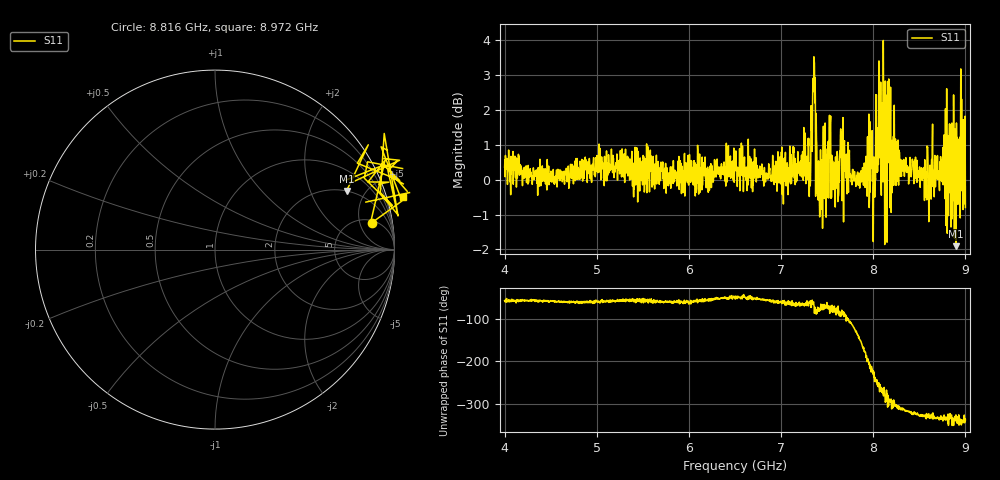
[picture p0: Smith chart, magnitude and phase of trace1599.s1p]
! Created with skrf 1.8.0 (http://scikit-rf.org).
# Hz S RI R 50.0
!freq ReS11 ImS11
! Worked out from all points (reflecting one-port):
!   1601 points, 4 GHz to 9 GHz, reference 50 ohm
!   lowest |S11| = -1.9 dB at 8.9 GHz (marker M1), VSWR 9.15, Z = 99.7 + j184 ohm
!   phase of S11 starts at -58 deg and turns -280 deg over the sweep
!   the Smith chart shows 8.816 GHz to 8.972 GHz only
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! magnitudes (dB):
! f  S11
! 4 GHz  0.4
! 4.625 GHz  -0.1
! 5.25 GHz  0.2
! 5.875 GHz  0.1
! 6.5 GHz  0.3
! 7.125 GHz  0.2
! 7.294 GHz  1.2
! 7.328 GHz  1.4
! 7.347 GHz  2.9
! 7.366 GHz  2.2
! 7.4 GHz  -0.2
! 7.425 GHz  -0.4
! 7.525 GHz  1.9
! 7.566 GHz  -0.3
! 7.662 GHz  -0.6
! 7.75 GHz  0.2
! 7.909 GHz  0.0
! 7.962 GHz  1.7
! 8 GHz  -1.8
! 8.088 GHz  -0.4
! 8.141 GHz  -0.2
! 8.156 GHz  2.8
! 8.216 GHz  0.8
! 8.375 GHz  0.2
! 8.85 GHz  0.2
! 8.9 GHz  -1.9
! 8.972 GHz  0.7
! 9 GHz  -0.8
